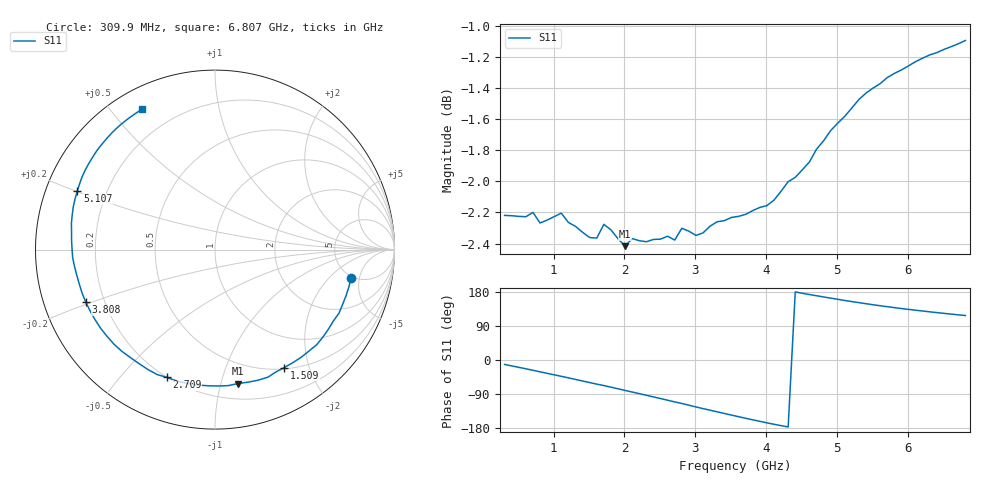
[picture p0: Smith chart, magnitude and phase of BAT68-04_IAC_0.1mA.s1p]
! Infineon Technologies  Discrete & RF Semiconductors
! BAT68-04
! IAC = 0.1 mA
! One-Port S-Parameters
# Hz  S  MA  R  50
!f  S11
!Hz  Mag  Ang
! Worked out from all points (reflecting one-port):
!   66 points, 309.9 MHz to 6.807 GHz, reference 50 ohm
!   lowest |S11| = -2.4 dB at 2.009 GHz (marker M1), VSWR 7.23, Z = 16.2 - j56.6 ohm
!   phase of S11 starts at -12 deg and turns -231 deg over the sweep
!   S11 on the Smith chart (normalised r, x): 309.9 MHz: 4.80, -3.79; 1.509 GHz: 0.52, -1.62; 2.709 GHz: 0.20, -0.67; 3.808 GHz: 0.13, -0.19; 5.107 GHz: 0.09, +0.20; 6.807 GHz: 0.09, +0.61
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3.0985e8  0.7746 -11.7
5.0975e8  0.774 -19.4
7.0965e8  0.7763 -27.2
1.0095e9  0.7739 -39.1
1.2094e9  0.7705 -47.1
1.50925e9  0.762 -59.6
1.70915e9  0.7694 -67.4
2.009e9  0.7571 -80.4
2.2089e9  0.7602 -88.8
2.4088e9  0.7609 -97.4
2.6087e9  0.7627 -106.1
2.70865e9  0.7605 -110.6
2.8086e9  0.7672 -114.8
3.0085e9  0.7632 -123.9
3.2084e9  0.7685 -132.5
3.4083e9  0.7715 -141.2
3.6082e9  0.774 -149.6
3.8081e9  0.7773 -157.9
4.10795e9  0.7834 -169.6
4.4078e9  0.7966 179.6
4.70765e9  0.8134 169.6
4.90755e9  0.8247 163.3
5.10745e9  0.8335 157.0
5.2074e9  0.8387 154.1
5.6072e9  0.8539 143.1
6.007e9  0.8652 133.5
6.30685e9  0.8722 127.1
6.8066e9  0.8815 117.3
